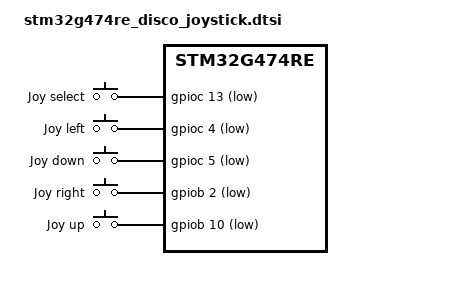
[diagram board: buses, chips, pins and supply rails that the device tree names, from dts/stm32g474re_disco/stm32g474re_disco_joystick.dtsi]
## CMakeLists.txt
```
# SPDX-License-Identifier: Apache-2.0

cmake_minimum_required(VERSION 3.13.1)

set(PROJ_ROOT ${CMAKE_CURRENT_SOURCE_DIR}/)
set(DTS_ROOT ${CMAKE_CURRENT_SOURCE_DIR}/dts)
#set(DTC_OVERLAY_FILE "boards/stm32g474re_disco.overlay")

set(BOARD_ROOT ${CMAKE_CURRENT_LIST_DIR})
set(BOARD stm32g474re_disco)

find_package(Zephyr REQUIRED HINTS $ENV{ZEPHYR_BASE})
project(demoapp1)

#FILE(GLOB app_sources src/*.c)
list(APPEND app_sources 
				src/main.c
				src/app_tft_display/app_tft_display.c
				src/app_sd_card/app_sd_card.c
				src/app_keypad/app_keypad.c
				src/app_pwm_motor/app_pwm_motor.c
				src/bmp388/bmp388.c
				src/bmp388/bmp3/bmp3.c
				src/bmp388/bmp3/bmp3_selftest.c
				)
target_sources(app PRIVATE ${app_sources})

target_include_directories(app PRIVATE src/include)
```

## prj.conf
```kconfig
# General configs
CONFIG_LOG=y
CONFIG_HEAP_MEM_POOL_SIZE=8192
CONFIG_MAIN_STACK_SIZE=4096
CONFIG_MINIMAL_LIBC_MALLOC_ARENA_SIZE=1024


# SD Card configs
CONFIG_DISK_ACCESS=y
CONFIG_FILE_SYSTEM=y
CONFIG_FAT_FILESYSTEM_ELM=y


# Shell configs


# Display and LVGL configs
CONFIG_DISPLAY=y
CONFIG_DISPLAY_LOG_LEVEL_ERR=y
CONFIG_LVGL=y
CONFIG_LVGL_HOR_RES_MAX=320
CONFIG_LVGL_VER_RES_MAX=320
CONFIG_LVGL_USE_LABEL=y
CONFIG_LVGL_USE_CONT=y
CONFIG_LVGL_USE_BTN=n
CONFIG_LVGL_USE_THEME_MATERIAL=n
CONFIG_LVGL_COLOR_DEPTH_16=y
CONFIG_LVGL_COLOR_16_SWAP=y
CONFIG_LVGL_BITS_PER_PIXEL=16
CONFIG_LVGL_FONT_MONTSERRAT_36=y
CONFIG_LVGL_FONT_MONTSERRAT_24=y
CONFIG_LVGL_FONT_MONTSERRAT_12=y
#CONFIG_LVGL_FONT_UNSCII_8=n
CONFIG_LVGL_TXT_ENC_UTF8=y
CONFIG_LVGL_MEM_POOL_KERNEL=y
CONFIG_LVGL_VDB_SIZE=5
CONFIG_LVGL_MEM_POOL_NUMBER_BLOCKS=2


# Button and LED configs
CONFIG_GPIO=y


# PWM Motor configs
CONFIG_PWM=y


# I2C Bus configs
CONFIG_I2C=y
```

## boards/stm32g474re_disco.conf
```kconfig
# SD Card configs
CONFIG_DISK_ACCESS_SDHC=y
CONFIG_DISK_ACCESS_SPI_SDHC=y
CONFIG_SPI=y
CONFIG_SPI_3=y


# TFT Display configs
CONFIG_SPI=y
CONFIG_SPI_1=y
CONFIG_ST7789V=y
```

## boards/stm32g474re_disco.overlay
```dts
/*
 * Copyright (c) 2020 Rohan Dey
 *
 * SPDX-License-Identifier: Apache-2.0
 */

&spi3 {
        status = "okay";
        clock-frequency = <400000>;

        sdhc0: sdhc@0 {
                compatible = "zephyr,mmc-spi-slot";
                reg = <0>;
                status = "okay";
                label = "SDHC0";
                spi-max-frequency = <24000000>;
        };
};
```

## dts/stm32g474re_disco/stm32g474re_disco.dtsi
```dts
/*
 * Copyright (c) 2020 Rohan Dey
 *
 * SPDX-License-Identifier: Apache-2.0
 */

#include "stm32g474re_disco_usart3.dtsi"
#include "stm32g474re_disco_leds.dtsi"
#include "stm32g474re_disco_joystick.dtsi"
#include "stm32g474re_disco_spi1_bus.dtsi"
#include "stm32g474re_disco_spi3_bus.dtsi"
#include "stm32g474re_disco_timers4.dtsi"
#include "stm32g474re_disco_i2c1_bus.dtsi"

/*#include "stm32g474re_disco_timers17.dtsi"*/
/*#include "stm32g474re_disco_timers20.dtsi"*/
```

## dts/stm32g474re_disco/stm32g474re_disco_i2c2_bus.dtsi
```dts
/*
 * Copyright (c) 2020 Rohan Dey
 *
 * SPDX-License-Identifier: Apache-2.0
 */


&pinctrl {
  i2c2_scl: gpioa_9 {
    pinmux = <STM32_PINMUX('A', 9, AF4)>;
  };

  i2c2_sda: gpioa_10 {
    pinmux = <STM32_PINMUX('A', 10, AF4)>;
  };
};

&i2c2 {
  status = "okay";
  clock-frequency = <I2C_BITRATE_FAST>;
  pinctrl-0 = <&i2c2_scl &i2c2_sda>;
};
```

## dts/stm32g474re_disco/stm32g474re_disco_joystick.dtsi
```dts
/*
 * Copyright (c) 2020 Rohan Dey
 *
 * SPDX-License-Identifier: Apache-2.0
 */

/ {
	joystick_keys {
		compatible = "gpio-keys";
		joysel: joysel {
			gpios = <&gpioc 13 (GPIO_ACTIVE_LOW | GPIO_PULL_UP)>;
			label = "Joy select";
		};
		joyleft: joyleft {
			gpios = <&gpioc 4 (GPIO_ACTIVE_LOW | GPIO_PULL_UP)>;
			label = "Joy left";
		};
		joydown: joydown {
			gpios = <&gpioc 5 (GPIO_ACTIVE_LOW | GPIO_PULL_UP)>;
			label = "Joy down";
		};
		joyright: joyright {
			gpios = <&gpiob 2 (GPIO_ACTIVE_LOW | GPIO_PULL_UP)>;
			label = "Joy right";
		};
		joyup: joyup {
			gpios = <&gpiob 10 (GPIO_ACTIVE_LOW | GPIO_PULL_UP)>;
			label = "Joy up";
		};
	};
};
```

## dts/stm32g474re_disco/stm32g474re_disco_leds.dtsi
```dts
/*
 * Copyright (c) 2020 Rohan Dey
 *
 * SPDX-License-Identifier: Apache-2.0
 */

/ {
	onboard_leds {
		compatible = "gpio-leds";
		green_led: green_led {
			gpios = <&gpiob 7 GPIO_ACTIVE_HIGH>;
			label = "LED_RIGHT";
		};
		
		orange_led: orange_led {
			gpios = <&gpiob 1 GPIO_ACTIVE_HIGH>;
			label = "LED_LEFT";
		};
		
		red_led: red_led {
			gpios = <&gpiob 5 GPIO_ACTIVE_HIGH>;
			label = "LED_UP";
		};
		
		blue_led: blue_led {
			gpios = <&gpioa 15 GPIO_ACTIVE_HIGH>;
			label = "LED_DOWN";
		};
	};
};
```

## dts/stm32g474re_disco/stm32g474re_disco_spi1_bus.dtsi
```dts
/*
 * Copyright (c) 2020 Rohan Dey
 *
 * SPDX-License-Identifier: Apache-2.0
 */

#include <dt-bindings/pinctrl/stm32-pinctrl.h>

&pinctrl {
  spi1_sck: gpioa_5 {
    pinmux = <STM32_PINMUX('A', 5, AF5)>;
  };

  spi1_mosi: gpiob_5 {
    pinmux = <STM32_PINMUX('B', 5, AF5)>;
  };

  spi1_miso: gpioa_6 {
    pinmux = <STM32_PINMUX('A', 6, AF5)>;
  };

  spi1_display_nss: gpioa_4 {
    pinmux = <STM32_PINMUX('A', 4, AF5)>;
  };
};

&spi1 {
    status = "okay";
    pinctrl-0 = <&spi1_sck &spi1_mosi &spi1_miso &spi1_display_nss>;

    tft_display: st7789v@0 {
		compatible = "sitronix,st7789v";
		label = "DISPLAY";
		spi-max-frequency = <20000000>;
		reg = <0>;
		cmd-data-gpios = <&gpioc 0 GPIO_ACTIVE_LOW>;
		reset-gpios = <&gpioc 1 GPIO_ACTIVE_LOW>;
		height = <240>;
		width = <320>;
		x-offset = <0>;
		y-offset = <0>;
		
		vcom = <0x1F>;
		
		gctrl = <0x35>;
		vrhs = <0x12>;
		vdvs = <0x20>;
		
		/* mdac = <0x60>;	 Landscape orientation 1 (ST7789V_MADCTL_MX | ST7789V_MADCTL_MV)*/
		mdac = <0xA0>;	/* Landscape orientation 2 (ST7789V_MADCTL_MY | ST7789V_MADCTL_MV) */
		
		gamma = <0x01>;
		colmod = <0x05>;
		lcm = <0x2c>;
		porch-param = [0c 0c 00 33 33];
		cmd2en-param = [5a 69 02 01];
		pwctrl1-param = [a4 a1];
		
		pvgam-param = [D0 08 11 08 0C 15 39 33 50 36 13 14 29 2D];
		nvgam-param = [D0 08 10 08 06 06 39 44 51 0B 16 14 2F 31];
		
		ram-param = [00 F0];
		rgb-param = [CD 08 14];
    };
};
```

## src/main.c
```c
/*
 * main.c
 *
 *  Created on: 17-Dec-2020
 *      Author: Rohan Dey
 */

#include <device.h>
#include <stdio.h>
#include <string.h>
#include <zephyr.h>

#include "main.h"
#include "demoapp_devices.h"
#include "app_sd_card.h"
#include "app_keypad.h"
#include "app_tft_display.h"
#include "app_pwm_motor.h"
#include "bmp388.h"

#define LOG_LEVEL CONFIG_LOG_DEFAULT_LEVEL
#include <logging/log.h>
LOG_MODULE_REGISTER(main);

void main(void)
{
	int res = 0;
	/* Initialize all devices
	 * 1. TFT Display
	 * 2. SD Card
	 * 3. Keypad
	 * 4. PWM Motor
	 * 5. BMP388
	 * */
	res = app_tft_display_init();
	if (res != 0) {
		LOG_ERR("Failed to initialize display!");
	}

	res = app_sd_init();
	if (res != 0) {
		LOG_ERR("Failed to initialize sd card!");
	}

	res = app_keypad_init();
	if (res != 0) {
		LOG_ERR("Failed to initialize keypad!");
	}

	res = app_pwm_motor_init();
	if (res != 0) {
		LOG_ERR("Failed to initialize pwm motor!");
	}

	res = bmp388_init();
	if (res != 0) {
		LOG_ERR("Failed to initialize bmp388!");
	}
#if 0
	/* Display message on TFT */
	if (res != 0) {
		app_tft_display_msg(TFT_MSG_INIT_FAILED);
	} else {
		app_tft_display_msg(TFT_MSG_INIT_SUCCESS);
	}
#endif

	if (res == 0) {
		/* Start worker threads
		 * 1. Display thread
		 * 2. BMP388 sensor thread
		 * 3. Motor control thread
		 * */
		res = app_tft_start_thread();
		res = bmp388_start_thread();
	}

	while (1) {
//		app_tft_task_handler();
		k_sleep(K_MSEC(1000));
	}
}
```
